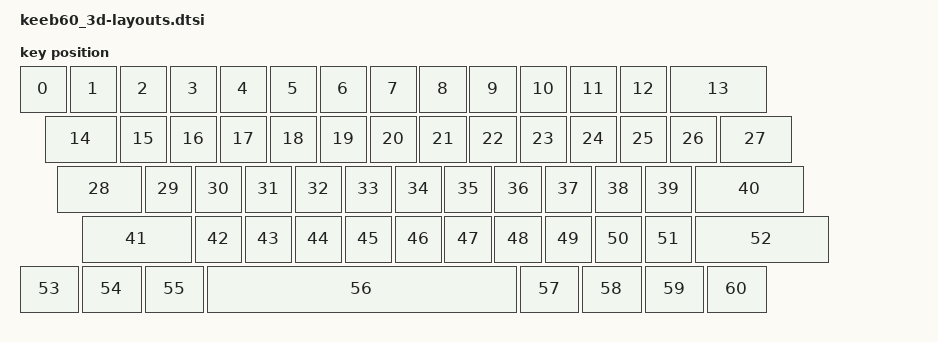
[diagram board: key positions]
// See https://zmk.dev/docs/development/hardware-integration/physical-layouts
// for how to configure this.

#include <physical_layouts.dtsi>

/ {
    default_layout: default_layout {
        compatible = "zmk,physical-layout";
        display-name = "ANSI 60%";
        transform = <&default_transform>;
        kscan = <&kscan>;

        // Row 0: ` 1 2 3 4 5 6 7 8 9 0 - = Backspace
        // Row 1: Tab Q W E R T Y U I O P [ ] \
        // Row 2: Caps A S D F G H J K L ; ' Enter
        // Row 3: Shift Z X C V B N M , . / Shift
        // Row 4: Ctrl Menu Alt Space Alt Fn Menu Ctrl
        keys
            = <&key_physical_attrs 100 100    0    0   0 0 0>   /* ` */
            , <&key_physical_attrs 100 100  100    0   0 0 0>   /* 1 */
            , <&key_physical_attrs 100 100  200    0   0 0 0>   /* 2 */
            , <&key_physical_attrs 100 100  300    0   0 0 0>   /* 3 */
            , <&key_physical_attrs 100 100  400    0   0 0 0>   /* 4 */
            , <&key_physical_attrs 100 100  500    0   0 0 0>   /* 5 */
            , <&key_physical_attrs 100 100  600    0   0 0 0>   /* 6 */
            , <&key_physical_attrs 100 100  700    0   0 0 0>   /* 7 */
            , <&key_physical_attrs 100 100  800    0   0 0 0>   /* 8 */
            , <&key_physical_attrs 100 100  900    0   0 0 0>   /* 9 */
            , <&key_physical_attrs 100 100 1000    0   0 0 0>   /* 0 */
            , <&key_physical_attrs 100 100 1100    0   0 0 0>   /* - */
            , <&key_physical_attrs 100 100 1200    0   0 0 0>   /* = */
            , <&key_physical_attrs 200 100 1300    0   0 0 0>   /* Backspace */

            , <&key_physical_attrs 150 100   50  100   0 0 0>   /* Tab */
            , <&key_physical_attrs 100 100  200  100   0 0 0>   /* Q */
            , <&key_physical_attrs 100 100  300  100   0 0 0>   /* W */
            , <&key_physical_attrs 100 100  400  100   0 0 0>   /* E */
            , <&key_physical_attrs 100 100  500  100   0 0 0>   /* R */
            , <&key_physical_attrs 100 100  600  100   0 0 0>   /* T */
            , <&key_physical_attrs 100 100  700  100   0 0 0>   /* Y */
            , <&key_physical_attrs 100 100  800  100   0 0 0>   /* U */
            , <&key_physical_attrs 100 100  900  100   0 0 0>   /* I */
            , <&key_physical_attrs 100 100 1000  100   0 0 0>   /* O */
            , <&key_physical_attrs 100 100 1100  100   0 0 0>   /* P */
            , <&key_physical_attrs 100 100 1200  100   0 0 0>   /* [ */
            , <&key_physical_attrs 100 100 1300  100   0 0 0>   /* ] */
            , <&key_physical_attrs 150 100 1400  100   0 0 0>   /* \ */

            , <&key_physical_attrs 175 100   75  200   0 0 0>   /* Caps */
            , <&key_physical_attrs 100 100  250  200   0 0 0>   /* A */
            , <&key_physical_attrs 100 100  350  200   0 0 0>   /* S */
            , <&key_physical_attrs 100 100  450  200   0 0 0>   /* D */
            , <&key_physical_attrs 100 100  550  200   0 0 0>   /* F */
            , <&key_physical_attrs 100 100  650  200   0 0 0>   /* G */
            , <&key_physical_attrs 100 100  750  200   0 0 0>   /* H */
            , <&key_physical_attrs 100 100  850  200   0 0 0>   /* J */
            , <&key_physical_attrs 100 100  950  200   0 0 0>   /* K */
            , <&key_physical_attrs 100 100 1050  200   0 0 0>   /* L */
            , <&key_physical_attrs 100 100 1150  200   0 0 0>   /* ; */
            , <&key_physical_attrs 100 100 1250  200   0 0 0>   /* ' */
            , <&key_physical_attrs 225 100 1350  200   0 0 0>   /* Enter */

            , <&key_physical_attrs 225 100  125  300   0 0 0>   /* Left Shift */
            , <&key_physical_attrs 100 100  350  300   0 0 0>   /* Z */
            , <&key_physical_attrs 100 100  450  300   0 0 0>   /* X */
            , <&key_physical_attrs 100 100  550  300   0 0 0>   /* C */
            , <&key_physical_attrs 100 100  650  300   0 0 0>   /* V */
            , <&key_physical_attrs 100 100  750  300   0 0 0>   /* B */
            , <&key_physical_attrs 100 100  850  300   0 0 0>   /* N */
            , <&key_physical_attrs 100 100  950  300   0 0 0>   /* M */
            , <&key_physical_attrs 100 100 1050  300   0 0 0>   /* , */
            , <&key_physical_attrs 100 100 1150  300   0 0 0>   /* . */
            , <&key_physical_attrs 100 100 1250  300   0 0 0>   /* / */
            , <&key_physical_attrs 275 100 1350  300   0 0 0>   /* Right Shift */

            , <&key_physical_attrs 125 100    0  400   0 0 0>   /* Ctrl */
            , <&key_physical_attrs 125 100  125  400   0 0 0>   /* Left Menu */
            , <&key_physical_attrs 125 100  250  400   0 0 0>   /* Alt */
            , <&key_physical_attrs 625 100  375  400   0 0 0>   /* Space */
            , <&key_physical_attrs 125 100 1000  400   0 0 0>   /* Alt */
            , <&key_physical_attrs 125 100 1125  400   0 0 0>   /* Fn */
            , <&key_physical_attrs 125 100 1250  400   0 0 0>   /* Right Menu */
            , <&key_physical_attrs 125 100 1375  400   0 0 0>   /* Ctrl */
            ;
    };
};
